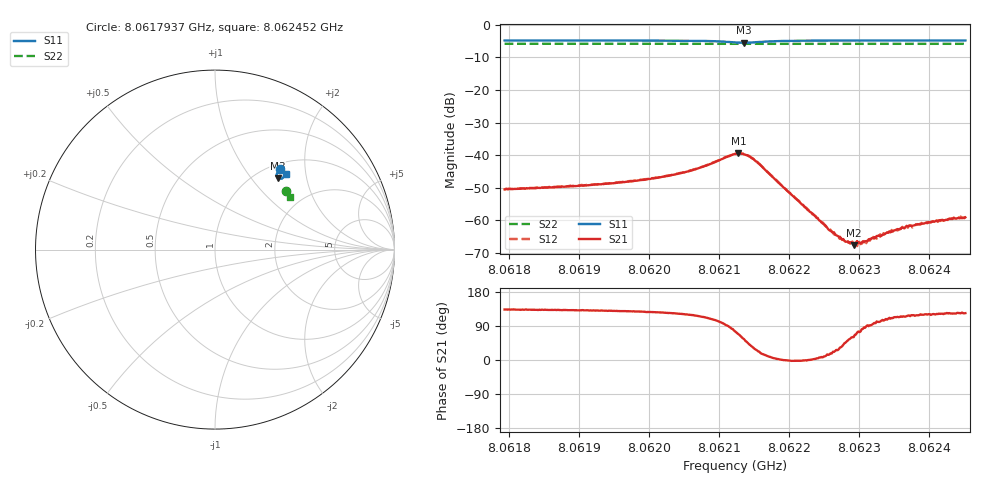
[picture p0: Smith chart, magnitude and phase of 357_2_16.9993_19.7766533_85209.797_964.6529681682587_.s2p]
#  HZ  S  RI  R  50.00
! Rohde & Schwarz Vector Network Analyzer
! Rohde-Schwarz,ZNB20-2Port,1311601062101988,3.16
! Created: UTC 3/20/2024, 11:08:04 PM
! freq[Hz]  re:S11  im:S11  re:S21  im:S21  re:S12  im:S12  re:S22  im:S22
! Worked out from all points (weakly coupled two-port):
!   401 points, 8.0617937 GHz to 8.062452 GHz, reference 50 ohm
!   highest |S21| = -39.46 dB at 8.0621278 GHz (marker M1); lowest = -67.7 dB at 8.0622924 GHz (marker M2)
!   lowest |S11| = -5.5 dB at 8.062136 GHz (marker M3), VSWR 3.26, Z = 61.7 + j68.6 ohm
!   |S11| at or under -10 dB: nowhere
!   |S22| runs from -5.9 to -5.8 dB; largest |S21 - S12| = 0.00088
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8.0617937e9  0.3638 0.4466  -0.00204 0.00217  -0.0019 0.00232  0.3968 0.3242
8.06190397e9  0.3713 0.4401  -0.00226 0.00256  -0.00215 0.00275  0.4009 0.3187
8.06196322e9  0.3756 0.4357  -0.00243 0.00301  -0.00224 0.00317  0.4032 0.3157
8.06201424e9  0.38 0.4303  -0.00266 0.0037  -0.00244 0.0039  0.4051 0.3129
8.06206527e9  0.3842 0.4205  -0.00276 0.00536  -0.00249 0.00555  0.407 0.31
8.06212287e9  0.3663 0.3941  0.00253 0.0101  0.00312 0.01  0.4076 0.3064
8.06212781e9  0.3602 0.3944  0.00388 0.00991  0.0047 0.00957  0.4075 0.3063
8.06213604e9  0.3501 0.3993  0.00593 0.00836  0.00658 0.0081  0.4075 0.3062
8.06214427e9  0.3441 0.4087  0.00727 0.00605  0.00765 0.0057  0.4077 0.3064
8.06215743e9  0.345 0.4236  0.0068 0.00274  0.00705 0.00231  0.4083 0.3064
8.06223314e9  0.3725 0.4347  0.00128 3.02e-05  0.00124 -4.57e-05  0.4123 0.3028
8.06225783e9  0.3765 0.4331  0.00068 0.00018  0.000719 0.000154  0.4132 0.3015
8.062271e9  0.3783 0.4322  0.000497 0.000264  0.0005 0.000228  0.4138 0.301
8.06228416e9  0.3798 0.4315  0.000294 0.000375  0.000322 0.000325  0.4143 0.3003
8.06229239e9  0.3807 0.4309  0.000203 0.000358  0.000218 0.000371  0.4145 0.2996
8.06230062e9  0.3813 0.4303  0.000133 0.000441  0.000139 0.00045  0.4149 0.2993
8.0623105e9  0.3825 0.4295  6.54e-06 0.000481  5.48e-05 0.000443  0.4152 0.2987
8.06234341e9  0.3853 0.4276  -0.000243 0.000622  -0.000187 0.000649  0.4163 0.2971
8.06235329e9  0.3861 0.427  -0.00028 0.000663  -0.000253 0.000659  0.4167 0.2966
8.06237139e9  0.3875 0.4261  -0.00038 0.000727  -0.000328 0.000765  0.4174 0.2956
8.06243064e9  0.3917 0.4227  -0.00057 0.000888  -0.000533 0.000903  0.4196 0.2925
8.06245204e9  0.3931 0.4214  -0.000613 0.000922  -0.000562 0.000934  0.42 0.2915
